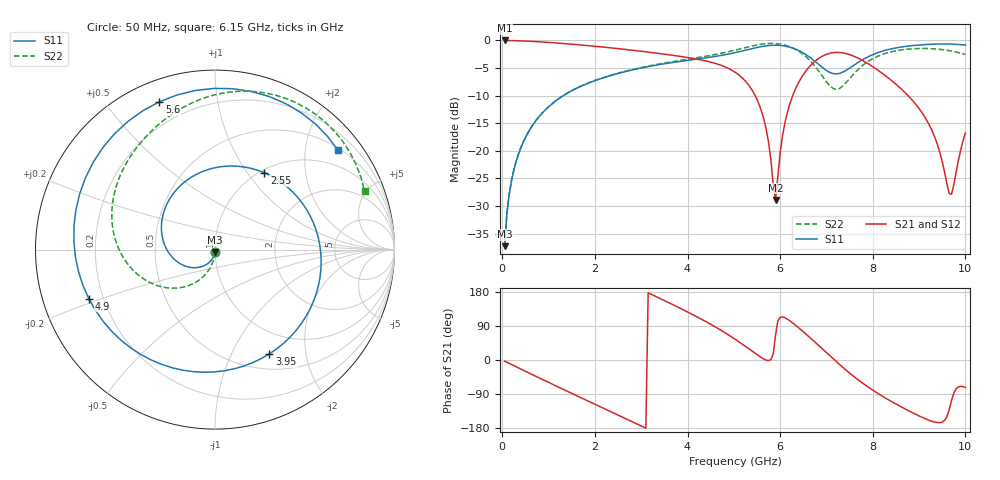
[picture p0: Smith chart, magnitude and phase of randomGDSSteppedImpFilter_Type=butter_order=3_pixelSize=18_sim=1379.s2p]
! freq	dB(S11)	phase(S11)	dB(S12)	phase(S12)
!  dB(S21)	phase(S21)	dB(S22)	phase(S22)
!S-par simulation data
#  GHz  S  DB  R 50
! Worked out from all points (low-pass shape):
!   200 points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, 50 MHz to 10 GHz, reference 50 ohm
!   highest |S21| = -0.01 dB at 50 MHz (marker M1); lowest = -28.9 dB at 5.9 GHz (marker M2)
!   |S21| within 3 dB of the highest: start of sweep to 3.932 GHz; 6.881 GHz to 7.631 GHz (750.9 MHz wide, 10.3 % of centre)
!   lowest |S11| = -37.3 dB at 50 MHz (marker M3), VSWR 1.03, Z = 49.9 - j1.36 ohm
!   |S11| at or under -10 dB: start of sweep to 1.32 GHz
!   |S22| runs from -37.3 to -0.5 dB; largest |S21 - S12| = 0
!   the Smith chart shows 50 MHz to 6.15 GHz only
!   S11 on the Smith chart (normalised r, x): 50 MHz: 1.00, -0.03; 2.55 GHz: 1.04, +1.21; 3.95 GHz: 0.69, -1.41; 4.9 GHz: 0.14, -0.18; 5.6 GHz: 0.09, +0.69; 6.15 GHz: 0.55, +2.71
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0.05  -37.27 -93.6  -0.01 -3.0  -0.01 -3.0  -37.26 -91.3
0.2  -25.36 -106.7  -0.03 -12.0  -0.03 -12.0  -25.33 -97.6
0.5  -17.59 -131.7  -0.12 -29.8  -0.12 -29.8  -17.56 -109.0
1.75  -8.11 124.7  -0.86 -102.4  -0.86 -102.4  -8.08 -150.9
2.55  -5.87 57.3  -1.53 -148.2  -1.53 -148.2  -5.82 -174.8
3.4  -4.37 -14.6  -2.38 162.8  -2.38 162.8  -4.24 159.5
3.95  -3.67 -62.4  -3.03 129.9  -3.03 129.9  -3.47 141.9
4.45  -3.10 -109.8  -3.83 97.7  -3.83 97.7  -2.78 124.8
4.9  -2.45 -158.8  -5.15 65.0  -5.15 65.0  -2.02 107.3
5.05  -2.17 -176.9  -5.90 53.0  -5.90 53.0  -1.72 100.5
5.6  -1.11 110.6  -12.88 6.0  -12.88 6.0  -0.68 68.3
5.9  -0.87 70.4  -28.90 64.9  -28.90 64.9  -0.57 44.6
6.15  -1.10 39.2  -13.25 108.3  -13.25 108.3  -0.97 21.4
6.7  -3.43 -13.9  -4.17 52.9  -4.17 52.9  -4.17 -45.5
7  -5.44 -26.5  -2.52 19.3  -2.52 19.3  -7.49 -102.3
7.35  -5.76 -25.9  -2.26 -19.1  -2.26 -19.1  -8.28 165.3
7.85  -3.16 -38.6  -3.97 -67.1  -3.97 -67.1  -4.10 78.1
8.35  -1.62 -61.4  -6.90 -105.8  -6.90 -105.8  -2.17 24.1
8.85  -0.94 -83.3  -10.80 -138.6  -10.80 -138.6  -1.52 -22.1
9.35  -0.67 -104.0  -17.77 -164.2  -17.77 -164.2  -1.54 -70.0
9.7  -0.66 -118.6  -27.87 -107.2  -27.87 -107.2  -1.92 -110.1
10  -0.84 -131.4  -16.76 -72.0  -16.76 -72.0  -2.53 -153.0
